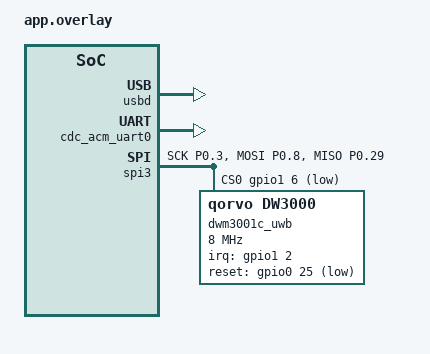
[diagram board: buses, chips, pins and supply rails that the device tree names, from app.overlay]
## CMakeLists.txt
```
cmake_minimum_required(VERSION 3.20.0)

set(DTC_OVERLAY_FILE ${CMAKE_CURRENT_SOURCE_DIR}/app.overlay)
set(DTS_ROOT
    ${CMAKE_CURRENT_SOURCE_DIR}
    ${CMAKE_CURRENT_SOURCE_DIR}/../uwb_chipid
)

find_package(Zephyr REQUIRED HINTS $ENV{ZEPHYR_BASE})
project(drone_rx)

set(QORVO_DWT_PATH ${CMAKE_CURRENT_SOURCE_DIR}/../../DW3_QM33_SDK_1/Drivers/API/Shared/dwt_uwb_driver)

target_include_directories(app PRIVATE
  ${QORVO_DWT_PATH}
  ${CMAKE_CURRENT_SOURCE_DIR}/../uwb_chipid/src
  ${CMAKE_CURRENT_SOURCE_DIR}/../../../../include
)

target_sources(app PRIVATE
  src/main.c
  ${CMAKE_CURRENT_SOURCE_DIR}/../uwb_chipid/src/dw3000_port.c
  ${CMAKE_CURRENT_SOURCE_DIR}/../uwb_chipid/src/deca_probe_interface_zephyr.c
  ${CMAKE_CURRENT_SOURCE_DIR}/../uwb_chipid/src/deca_rsl_stub.c
)

target_sources(app PRIVATE
  ${QORVO_DWT_PATH}/deca_interface.c
  ${QORVO_DWT_PATH}/deca_compat.c
  ${QORVO_DWT_PATH}/dw3000/dw3000_device.c
)
```

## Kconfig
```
menu "UWB drone RX options"

config UWB_DRONE_RX_WAIT_MS
    int "RX wait poll timeout (ms)"
    default 200
    range 10 2000
    help
      Timeout used to poll RX events while still servicing the console.

config UWB_DRONE_IDLE_LOG_PERIOD
    int "Idle log period (loops)"
    default 100
    range 10 10000
    help
      Print a listening message every N idle loops without frames.

config UWB_TX_ANT_DLY
    int "DW3000 TX antenna delay"
    default 16385
    range 0 65535
    help
      TX antenna delay written into the DW3000 TX_ANTD register.

config UWB_RX_ANT_DLY
    int "DW3000 RX antenna delay"
    default 16385
    range 0 65535
    help
      RX antenna delay written into the DW3000 RX antenna-delay register.

endmenu

source "Kconfig.zephyr"
```

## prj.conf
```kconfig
# Console over USB CDC ACM
CONFIG_SERIAL=y
CONFIG_CONSOLE=y
CONFIG_PRINTK=y
CONFIG_CBPRINTF_FP_SUPPORT=y
CONFIG_UART_CONSOLE=y
CONFIG_UART_LINE_CTRL=y

# USB device stack + CDC ACM class
CONFIG_USB_DEVICE_STACK=y
CONFIG_USB_CDC_ACM=y
CONFIG_USB_DEVICE_PRODUCT="DWM3001CDK UWB Drone RX"
CONFIG_USB_DEVICE_VID=0x2FE3
CONFIG_USB_DEVICE_PID=0x0102

# Core drivers
CONFIG_SPI=y
CONFIG_GPIO=y
CONFIG_THREAD_NAME=y
CONFIG_ASSERT=y
CONFIG_HEAP_MEM_POOL_SIZE=2048

# Receiver configuration
CONFIG_UWB_DRONE_RX_WAIT_MS=200
CONFIG_UWB_DRONE_IDLE_LOG_PERIOD=100
```

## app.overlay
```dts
/*
 * DWM3001CDK UWB drone receiver overlay
 */

/ {
    chosen {
        zephyr,console = &cdc_acm_uart0;
        zephyr,shell-uart = &cdc_acm_uart0;
    };
};

&usbd { status = "okay"; };

&zephyr_udc0 {
    cdc_acm_uart0: cdc_acm_uart0 {
        compatible = "zephyr,cdc-acm-uart";
        label = "CDC_ACM_0";
    };
};

&spi3 {
    status = "okay";
    pinctrl-0 = <&spi3_dwm_default>;
    pinctrl-1 = <&spi3_dwm_sleep>;
    pinctrl-names = "default", "sleep";
    cs-gpios = <&gpio1 6 GPIO_ACTIVE_LOW>;

    dwm3001c_uwb: dwm3001c_uwb@0 {
        compatible = "qorvo,dw3000";
        reg = <0>;
        spi-max-frequency = <8000000>;
        irq-gpios = <&gpio1 2 GPIO_ACTIVE_HIGH>;
        reset-gpios = <&gpio0 25 GPIO_ACTIVE_LOW>;
    };
};

&pinctrl {
    spi3_dwm_default: spi3_dwm_default {
        group1 {
            psels = <NRF_PSEL(SPIM_SCK, 0, 3)>,
                    <NRF_PSEL(SPIM_MOSI, 0, 8)>,
                    <NRF_PSEL(SPIM_MISO, 0, 29)>;
        };
    };

    spi3_dwm_sleep: spi3_dwm_sleep {
        group1 {
            psels = <NRF_PSEL(SPIM_SCK, 0, 3)>,
                    <NRF_PSEL(SPIM_MOSI, 0, 8)>,
                    <NRF_PSEL(SPIM_MISO, 0, 29)>;
            low-power-enable;
        };
    };
};
```

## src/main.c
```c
#include <zephyr/kernel.h>
#include <zephyr/device.h>
#include <zephyr/drivers/gpio.h>
#include <zephyr/drivers/uart.h>
#include <zephyr/sys/atomic.h>
#include <zephyr/sys/printk.h>
#include <zephyr/usb/usb_device.h>

#include <stdbool.h>
#include <string.h>

#include "deca_device_api.h"
#include "deca_probe_interface.h"
#include "uwb_blink.h"

int dw_port_init(void);
void dw_port_reset_assert(void);
void dw_port_reset_deassert(void);

#define TS40_MASK   ((1ULL << 40) - 1ULL)
#define DWT_TICK_HZ 63897600000.0
#define TX_ANT_DLY  CONFIG_UWB_TX_ANT_DLY
#define RX_ANT_DLY  CONFIG_UWB_RX_ANT_DLY

#define UWB_NODE DT_NODELABEL(dwm3001c_uwb)
static const struct gpio_dt_spec uwb_irq = GPIO_DT_SPEC_GET(UWB_NODE, irq_gpios);

static struct k_sem sem_rx_done;
static struct k_sem sem_rx_to;
static struct k_sem sem_rx_err;

static uint8_t rx_buf[128];
static uint16_t rx_len;
static uint64_t last_rx_ts;

static inline uint64_t ts5_to_u64(const uint8_t ts[5])
{
    return ((uint64_t)ts[4] << 32) | ((uint64_t)ts[3] << 24) |
           ((uint64_t)ts[2] << 16) | ((uint64_t)ts[1] << 8) | (uint64_t)ts[0];
}

static uint64_t get_rx_timestamp_u64(void)
{
    uint8_t ts[5] = {0};
    dwt_readrxtimestamp(ts, DWT_COMPAT_NONE);
    return ts5_to_u64(ts);
}

static int64_t unwrap_ts40(uint64_t raw, uint64_t *prev_raw, bool *have_prev, int64_t *acc)
{
    uint64_t masked = raw & TS40_MASK;
    if (!*have_prev) {
        *have_prev = true;
        *prev_raw = masked;
        *acc = (int64_t)masked;
        return *acc;
    }
    uint64_t dt = (masked - *prev_raw) & TS40_MASK;
    *acc += (int64_t)dt;
    *prev_raw = masked;
    return *acc;
}

static double ticks_to_ns(double ticks)
{
    return ticks * 1e9 / DWT_TICK_HZ;
}

static const char *geom_status_str(uint8_t status)
{
    switch (status) {
    case UWB_GEOM_STATUS_OK:
        return "ok";
    case UWB_GEOM_STATUS_PARTIAL:
        return "partial";
    case UWB_GEOM_STATUS_FAILED:
        return "failed";
    default:
        return "unknown";
    }
}

static const char *network_state_str(uint8_t state)
{
    switch (state) {
    case UWB_NETWORK_SIGNAL_READY:
        return "ready";
    case UWB_NETWORK_SIGNAL_DEGRADED:
        return "degraded";
    case UWB_NETWORK_SIGNAL_FAULT:
        return "fault";
    default:
        return "unknown";
    }
}

static const struct device *cdc_dev;
static volatile bool running = true;

static void poll_console_keys(void)
{
    if (!cdc_dev || !device_is_ready(cdc_dev)) {
        return;
    }

    unsigned char c;
    while (uart_poll_in(cdc_dev, &c) == 0) {
        if (c == 's' || c == 'S') {
            running = !running;
            printk("[console] %s\n", running ? "start" : "pause");
        }
    }
}

static void usb_ready_wait(void)
{
    (void)usb_enable(NULL);

    cdc_dev = DEVICE_DT_GET(DT_NODELABEL(cdc_acm_uart0));
    for (int i = 0; i < 20 && !device_is_ready(cdc_dev); ++i) {
        k_msleep(100);
    }

    if (!cdc_dev || !device_is_ready(cdc_dev)) {
        return;
    }

    uint32_t dtr = 0;
    while (true) {
        (void)uart_line_ctrl_get(cdc_dev, UART_LINE_CTRL_DTR, &dtr);
        if (dtr) {
            break;
        }
        k_msleep(50);
    }
    k_msleep(50);
}

static struct gpio_callback irq_cb;
#define UWB_ISR_STACK_SIZE 1536
#define UWB_ISR_PRIORITY   0

static struct k_sem uwb_isr_sem;
static struct k_thread uwb_isr_thread;
K_THREAD_STACK_DEFINE(uwb_isr_stack, UWB_ISR_STACK_SIZE);
static atomic_t uwb_ready;

static void uwb_isr_thread_fn(void *arg1, void *arg2, void *arg3)
{
    ARG_UNUSED(arg1);
    ARG_UNUSED(arg2);
    ARG_UNUSED(arg3);

    while (1) {
        k_sem_take(&uwb_isr_sem, K_FOREVER);
        if (!atomic_get(&uwb_ready)) {
            continue;
        }
        while (dwt_checkirq()) {
            dwt_isr();
        }
    }
}

static void uwb_irq_handler(const struct device *dev, struct gpio_callback *cb, uint32_t pins)
{
    ARG_UNUSED(dev);
    ARG_UNUSED(cb);
    ARG_UNUSED(pins);
    if (atomic_get(&uwb_ready)) {
        k_sem_give(&uwb_isr_sem);
    }
}

static int irq_setup(void)
{
    if (!device_is_ready(uwb_irq.port)) {
        return -ENODEV;
    }
    int ret = gpio_pin_configure_dt(&uwb_irq, GPIO_INPUT);
    if (ret) {
        return ret;
    }
    ret = gpio_pin_interrupt_configure_dt(&uwb_irq, GPIO_INT_EDGE_TO_ACTIVE);
    if (ret) {
        return ret;
    }
    gpio_init_callback(&irq_cb, uwb_irq_handler, BIT(uwb_irq.pin));
    gpio_add_callback(uwb_irq.port, &irq_cb);
    return 0;
}

static void on_rx_ok(const dwt_cb_data_t *cb)
{
    rx_len = cb->datalength;
    if (rx_len > sizeof(rx_buf)) {
        rx_len = sizeof(rx_buf);
    }
    dwt_readrxdata(rx_buf, rx_len, 0);
    last_rx_ts = get_rx_timestamp_u64();
    k_sem_give(&sem_rx_done);
}

static void on_rx_to(const dwt_cb_data_t *cb)
{
    ARG_UNUSED(cb);
    k_sem_give(&sem_rx_to);
}

static void on_rx_err(const dwt_cb_data_t *cb)
{
    ARG_UNUSED(cb);
    k_sem_give(&sem_rx_err);
}

static int dw3110_radio_init(void)
{
    dw_port_reset_assert();
    k_msleep(2);
    dw_port_reset_deassert();
    k_msleep(5);

    if (dwt_probe((struct dwt_probe_s *)&dw3000_probe_interf) < 0) {
        return -EIO;
    }
    while (!dwt_checkidlerc()) {
        k_busy_wait(50);
    }
    if (dwt_initialise(DWT_READ_OTP_ALL) != DWT_SUCCESS) {
        return -EIO;
    }

    dwt_config_t cfg = {
        .chan = 9,
        .txPreambLength = DWT_PLEN_64,
        .rxPAC = DWT_PAC8,
        .txCode = 9,
        .rxCode = 9,
        .sfdType = DWT_SFD_IEEE_4A,
        .dataRate = DWT_BR_6M8,
        .phrMode = DWT_PHRMODE_STD,
        .phrRate = DWT_PHRRATE_STD,
        .sfdTO = DWT_SFDTOC_DEF,
        .stsMode = DWT_STS_MODE_OFF,
        .stsLength = DWT_STS_LEN_32,
        .pdoaMode = DWT_PDOA_M0,
    };
    if (dwt_configure(&cfg) != DWT_SUCCESS) {
        return -EIO;
    }

    dwt_setrxantennadelay((uint16_t)RX_ANT_DLY);
    dwt_settxantennadelay((uint16_t)TX_ANT_DLY);
    dwt_configureframefilter(DWT_FF_DISABLE, 0);
    dwt_setlnapamode(DWT_LNA_ENABLE | DWT_PA_ENABLE);

    dwt_setinterrupt(DWT_INT_RXFCG_BIT_MASK |
                         SYS_STATUS_ALL_RX_ERR |
                         SYS_STATUS_ALL_RX_TO,
                     0, DWT_ENABLE_INT);

    dwt_callbacks_s cbs = {0};
    cbs.cbRxOk = on_rx_ok;
    cbs.cbRxTo = on_rx_to;
    cbs.cbRxErr = on_rx_err;
    dwt_setcallbacks(&cbs);
    atomic_set(&uwb_ready, 1);

    return 0;
}

void main(void)
{
    k_msleep(200);
    usb_ready_wait();
    k_msleep(200);
    printk("\n[DWM3001CDK] UWB drone RX starting\n");
    printk("Press 's' to toggle start/pause\n");

    k_sem_init(&sem_rx_done, 0, 1);
    k_sem_init(&sem_rx_to, 0, 1);
    k_sem_init(&sem_rx_err, 0, 1);
    k_sem_init(&uwb_isr_sem, 0, 1);
    atomic_clear(&uwb_ready);
    k_thread_create(&uwb_isr_thread, uwb_isr_stack, UWB_ISR_STACK_SIZE,
                    uwb_isr_thread_fn, NULL, NULL, NULL,
                    UWB_ISR_PRIORITY, 0, K_NO_WAIT);

    if (dw_port_init()) {
        printk("DW port init failed\n");
        return;
    }
    if (irq_setup()) {
        printk("IRQ setup failed\n");
        return;
    }
    if (dw3110_radio_init()) {
        printk("DW3000 init failed\n");
        return;
    }

    dwt_setrxtimeout(0);
    dwt_setpreambledetecttimeout(0);

    bool rx_active = false;
    uint32_t rx_ok = 0;
    uint32_t rx_err = 0;
    uint32_t rx_idle = 0;

    bool sync_est_valid = false;
    double sync_a = 1.0;
    double sync_b = 0.0;
    bool have_pair = false;
    int64_t prev_t1_u = 0;
    int64_t prev_t2_u = 0;
    bool t1_have_prev = false;
    uint64_t t1_prev_raw = 0;
    int64_t t1_acc = 0;
    bool t2_have_prev = false;
    uint64_t t2_prev_raw = 0;
    int64_t t2_acc = 0;

    while (1) {
        poll_console_keys();
        if (!running) {
            if (rx_active) {
                dwt_forcetrxoff();
                rx_active = false;
            }
            k_msleep(50);
            continue;
        }

        if (!rx_active) {
            if (dwt_rxenable(DWT_START_RX_IMMEDIATE) != DWT_SUCCESS) {
                printk("DRONE: RX enable failed\n");
                k_msleep(10);
                continue;
            }
            rx_active = true;
        }

        if (k_sem_take(&sem_rx_done, K_MSEC(CONFIG_UWB_DRONE_RX_WAIT_MS)) == 0) {
            rx_active = false;
            rx_idle = 0;

            if (rx_len >= 1 && rx_buf[0] == UWB_FRAME_TYPE_BLINK) {
                struct uwb_blink_frame frame;
                if (uwb_blink_unpack(rx_buf, rx_len, &frame)) {
                    rx_ok++;
                    printk("DRONE: BLINK id=%u seq=%u slot=%u flags=%u ts=%llu ok=%u\n",
                           frame.beacon_id,
                           frame.superframe_seq,
                           frame.slot_id,
                           frame.flags,
                           (unsigned long long)last_rx_ts,
                           rx_ok);
                } else {
                    rx_err++;
                    printk("DRONE: BLINK parse error len=%u ts=%llu err=%u\n",
                           rx_len,
                           (unsigned long long)last_rx_ts,
                           rx_err);
                }
            } else if (rx_len >= 1 && rx_buf[0] == UWB_FRAME_TYPE_SYNC) {
                struct uwb_sync_frame sync;
                if (uwb_sync_unpack(rx_buf, rx_len, &sync)) {
                    rx_ok++;
                    uint64_t t2_drone = last_rx_ts;
                    int64_t t1_u = unwrap_ts40(sync.t1_master, &t1_prev_raw, &t1_have_prev, &t1_acc);
                    int64_t t2_u = unwrap_ts40(t2_drone, &t2_prev_raw, &t2_have_prev, &t2_acc);
                    printk("DRONE: SYNC master=%u seq=%u t1=%llu ts=%llu ok=%u\n",
                           sync.master_id,
                           sync.sync_seq,
                           (unsigned long long)sync.t1_master,
                           (unsigned long long)t2_drone,
                           rx_ok);

                    if (sync_est_valid) {
                        double pred_t2 = sync_a * (double)t1_u + sync_b;
                        double err_ticks = (double)t2_u - pred_t2;
                        printk("DRONE: SYNC_ERR seq=%u err_ns=%.2f\n",
                               sync.sync_seq,
                               ticks_to_ns(err_ticks));
                    }

                    if (have_pair) {
                        int64_t dt1 = t1_u - prev_t1_u;
                        int64_t dt2 = t2_u - prev_t2_u;
                        if (dt1 != 0) {
                            sync_a = (double)dt2 / (double)dt1;
                            sync_b = (double)t2_u - sync_a * (double)t1_u;
                            sync_est_valid = true;
                            printk("DRONE: EST drift_ppm=%.3f\n",
                                   (sync_a - 1.0) * 1e6);
                        }
                    }

                    prev_t1_u = t1_u;
                    prev_t2_u = t2_u;
                    have_pair = true;
                } else {
                    rx_err++;
                    printk("DRONE: SYNC parse error len=%u ts=%llu err=%u\n",
                           rx_len,
                           (unsigned long long)last_rx_ts,
                           rx_err);
                }
            } else if (rx_len >= 1 && rx_buf[0] == UWB_FRAME_TYPE_CAL) {
                struct uwb_cal_frame cal;
                if (uwb_cal_unpack(rx_buf, rx_len, &cal)) {
                    rx_ok++;
                    switch (cal.msg_type) {
                    case UWB_CAL_MSG_PAIR_REPORT:
                    {
                        uint32_t dist_mm = cal.value16;
                        printk("DRONE: CAL_EDGE a=A%u b=A%u sample=%u dist_m=%u.%03u valid=%u "
                               "path_ticks=%lld seq=%u roster_hash=%llu ok=%u\n",
                               cal.src_id,
                               cal.dst_id,
                               cal.slot_id,
                               (unsigned int)(dist_mm / 1000U),
                               (unsigned int)(dist_mm % 1000U),
                               cal.flags & 0x01U,
                               (long long)cal.ts_a,
                               cal.seq,
                               (unsigned long long)cal.ts_b,
                               rx_ok);
                        break;
                    }
                    case UWB_CAL_MSG_GEOM_DONE:
                        printk("DRONE: CAL_GRAPH status=%s roster_hash=%llu edges=%u anchors=%llu "
                               "seq=%u ok=%u\n",
                               geom_status_str(cal.flags),
                               (unsigned long long)cal.ts_a,
                               cal.value16,
                               (unsigned long long)cal.ts_b,
                               cal.seq,
                               rx_ok);
                        break;
                    case UWB_CAL_MSG_NETWORK:
                        printk("DRONE: CAL_READY state=%s roster_hash=%llu seq=%u ok=%u\n",
                               network_state_str(cal.flags),
                               (unsigned long long)cal.ts_a,
                               cal.seq,
                               rx_ok);
                        break;
                    default:
                        break;
                    }
                } else {
                    rx_err++;
                    printk("DRONE: CAL parse error len=%u ts=%llu err=%u\n",
                           rx_len,
                           (unsigned long long)last_rx_ts,
                           rx_err);
                }
            } else {
                rx_err++;
                printk("DRONE: unknown frame type len=%u ts=%llu err=%u\n",
                       rx_len,
                       (unsigned long long)last_rx_ts,
                       rx_err);
            }
            continue;
        }

        if (k_sem_take(&sem_rx_err, K_NO_WAIT) == 0) {
            rx_active = false;
            rx_err++;
            printk("DRONE: RX error err=%u\n", rx_err);
            continue;
        }

        if (k_sem_take(&sem_rx_to, K_NO_WAIT) == 0) {
            rx_active = false;
            rx_err++;
            printk("DRONE: RX timeout err=%u\n", rx_err);
            continue;
        }

        rx_idle++;
        if (rx_idle >= CONFIG_UWB_DRONE_IDLE_LOG_PERIOD) {
            printk("DRONE: listening ok=%u err=%u\n", rx_ok, rx_err);
            rx_idle = 0;
        }
    }
}
```
